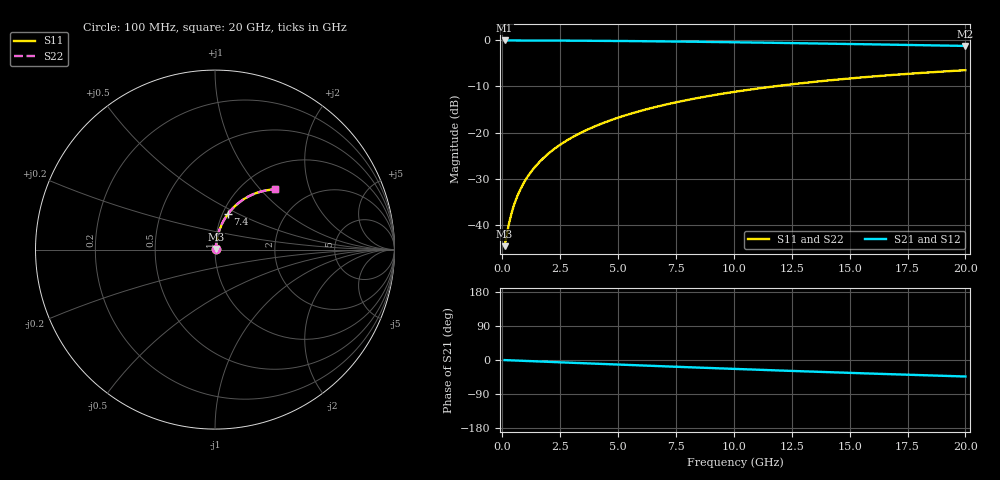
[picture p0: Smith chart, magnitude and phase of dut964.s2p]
! Touchstone file exported from HFSS 2026.1.0
!  File:  C:/ffzhzh/LocalFiles/Ansys_Project_Files/temp_train_BSMRDL_964_1783172472_18472.aedt
!  Generated:  09:42:29 PM Jul  4, 2026
!  Design:  BSMRDL
!  Project:  temp_train_BSMRDL_964_1783172472_18472
! Variables:
!  h_bsmrdl = 2.77um
!  h_ox = 20um
!  h_rdl = 5um
!  h_sub = 80um
!  h_tmrdl = 5um
!  h_tsv = 80um
!  h_via = 3um
!  l_bsmrdl = 577.37um
!  l_sub = 977.37um
!  l_tmrdl = 200um
!  m_sub = 200um
!  pitch = 48.9um
!  r_tsv = 6um
!  s_tmrdl = 10um
!  w_bsmrdl = 15.2um
!  w_sub = 500um
!  w_tmrdl = 12um
!  x_tsv_center1 = 206um
!  x_tsv_center2 = 798.57um
!  x_tsv_center3 = 1010.57um
!  x_tsv_center4 = 1603.14um
!  x_tsv_center5 = 1815.14um
!  x_tsv_center6 = 2407.71um
# GHz S MA R 50.000000
! Terminal data exported
! Port[1] = BSM_RDL1_1_T1
! Port[2] = BSM_RDL1_1_T2
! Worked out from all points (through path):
!   200 points, 100 MHz to 20 GHz, reference 50 ohm
!   highest |S21| = -0.04 dB at 100 MHz (marker M1); lowest = -1.2 dB at 20 GHz (marker M2)
!   group delay of S21, straight-line fit = 6.07 ps
!   lowest |S11| = -44.6 dB at 100 MHz (marker M3), VSWR 1.01, Z = 50.5 + j0.313 ohm
!   |S11| at or under -10 dB: start of sweep to 11.73 GHz
!   |S22| runs from -44.6 to -6.5 dB; largest |S21 - S12| = 4.2e-15
!   S11 on the Smith chart (normalised r, x): 100 MHz: 1.01, +0.01; 7.4 GHz: 1.06, +0.44; 20 GHz: 1.40, +1.21
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0.1  0.005888 31.8  0.995 -0.3  0.995 -0.3  0.005888 31.8
! Gamma 0 0 0 0
! Port Impedance 50 0 50 0
0.2  0.008026 50.4  0.9949 -0.5  0.9949 -0.5  0.008026 50.4
0.3  0.01063 60.2  0.9948 -0.8  0.9948 -0.8  0.01063 60.2
0.4  0.01341 65.8  0.9946 -1.0  0.9946 -1.0  0.01341 65.8
0.5  0.01624 69.3  0.9945 -1.2  0.9945 -1.2  0.01624 69.3
0.6  0.0191 71.7  0.9943 -1.5  0.9943 -1.5  0.0191 71.7
0.8  0.02483 74.8  0.994 -2.0  0.994 -2.0  0.02483 74.8
1.1  0.03346 77.2  0.9936 -2.7  0.9936 -2.7  0.03346 77.2
1.3  0.03922 78.0  0.9933 -3.2  0.9933 -3.2  0.03922 78.0
1.6  0.04789 78.8  0.9928 -3.9  0.9928 -3.9  0.04789 78.8
2.1  0.06236 79.1  0.9918 -5.1  0.9918 -5.1  0.06236 79.1
2.7  0.07969 78.8  0.9904 -6.6  0.9904 -6.6  0.07969 78.8
3.5  0.1027 77.8  0.9881 -8.5  0.9881 -8.5  0.1027 77.8
4.2  0.1226 76.6  0.9855 -10.1  0.9855 -10.1  0.1226 76.6
5  0.145 75.1  0.9822 -12.0  0.9822 -12.0  0.145 75.1
6.8  0.1942 71.4  0.9729 -16.2  0.9729 -16.2  0.1942 71.4
7.4  0.2101 70.1  0.9694 -17.6  0.9694 -17.6  0.2101 70.1
8.7  0.2436 67.3  0.961 -20.6  0.961 -20.6  0.2436 67.3
10.1  0.2781 64.4  0.951 -23.7  0.951 -23.7  0.2781 64.3
13.4  0.3529 57.5  0.9248 -30.7  0.9248 -30.7  0.3529 57.5
16.7  0.4181 51.1  0.8966 -37.3  0.8966 -37.3  0.4181 51.0
20  0.474 45.0  0.8682 -43.6  0.8682 -43.6  0.474 44.9
